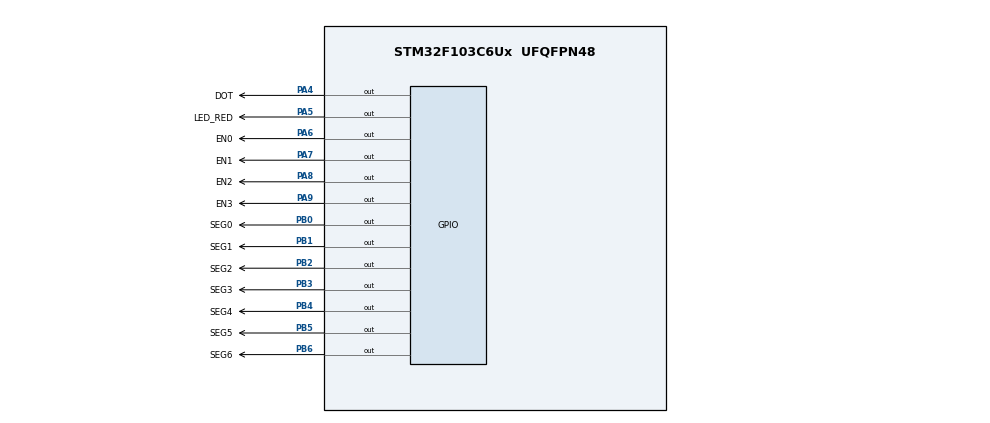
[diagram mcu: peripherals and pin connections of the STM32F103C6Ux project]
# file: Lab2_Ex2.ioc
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Mcu.Family=STM32F1
Mcu.Name=STM32F103C6Ux
Mcu.Package=UFQFPN48
NVIC.PriorityGroup=NVIC_PRIORITYGROUP_4
NVIC.TIM2_IRQn=true\:0\:0\:false\:false\:true\:true\:true
PA4.GPIO_Label=DOT
PA4.Signal=GPIO_Output
PA5.GPIO_Label=LED_RED
PA5.Signal=GPIO_Output
PA6.GPIO_Label=EN0
PA6.Signal=GPIO_Output
PA7.GPIO_Label=EN1
PA7.Signal=GPIO_Output
PA8.GPIO_Label=EN2
PA8.Signal=GPIO_Output
PA9.GPIO_Label=EN3
PA9.Signal=GPIO_Output
PB0.GPIO_Label=SEG0
PB0.Signal=GPIO_Output
PB1.GPIO_Label=SEG1
PB1.Signal=GPIO_Output
PB2.GPIO_Label=SEG2
PB2.Signal=GPIO_Output
PB3.GPIO_Label=SEG3
PB3.Signal=GPIO_Output
PB4.GPIO_Label=SEG4
PB4.Signal=GPIO_Output
PB5.GPIO_Label=SEG5
PB5.Signal=GPIO_Output
PB6.GPIO_Label=SEG6
PB6.Signal=GPIO_Output
ProjectManager.HeapSize=0x200
ProjectManager.StackSize=0x400
ProjectManager.TargetToolchain=STM32CubeIDE
RCC.APB1Freq_Value=8000000
RCC.APB2Freq_Value=8000000
TIM2.Period=9
TIM2.Prescaler=7999
VP_SYS_VS_ND.Mode=No_Debug
VP_TIM2_VS_ClockSourceINT.Mode=Internal
board=custom

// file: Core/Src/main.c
/* USER CODE BEGIN Header */
/**
  ******************************************************************************
  * @file           : main.c
  * @brief          : Main program body
  ******************************************************************************
  * @attention
  *
  * <h2><center>&copy; Copyright (c) 2022 STMicroelectronics.
  * All rights reserved.</center></h2>
  *
  * This software component is licensed by ST under BSD 3-Clause license,
  * the "License"; You may not use this file except in compliance with the
  * License. You may obtain a copy of the License at:
  *                        opensource.org/licenses/BSD-3-Clause
  *
  ******************************************************************************
  */
/* USER CODE END Header */
#include "main.h"

TIM_HandleTypeDef htim2;

void SystemClock_Config(void);
static void MX_GPIO_Init(void);
static void MX_TIM2_Init(void);

int main(void)
{

  /* MCU Configuration--------------------------------------------------------*/

  /* Reset of all peripherals, Initializes the Flash interface and the Systick. */
  HAL_Init();

  /* Configure the system clock */
  SystemClock_Config();

  /* Initialize all configured peripherals */
  MX_GPIO_Init();
  MX_TIM2_Init();
  /* USER CODE BEGIN 2 */
  HAL_TIM_Base_Start_IT(&htim2);
  /* USER CODE END 2 */

  /* Infinite loop */
  while (1)
  {

  }
}

void SystemClock_Config(void)
{
  RCC_OscInitTypeDef RCC_OscInitStruct = {0};
  RCC_ClkInitTypeDef RCC_ClkInitStruct = {0};

  /** Initializes the RCC Oscillators according to the specified parameters
  * in the RCC_OscInitTypeDef structure.
  */
  RCC_OscInitStruct.OscillatorType = RCC_OSCILLATORTYPE_HSI;
  RCC_OscInitStruct.HSIState = RCC_HSI_ON;
  RCC_OscInitStruct.HSICalibrationValue = RCC_HSICALIBRATION_DEFAULT;
  RCC_OscInitStruct.PLL.PLLState = RCC_PLL_NONE;
  if (HAL_RCC_OscConfig(&RCC_OscInitStruct) != HAL_OK)
  {
    Error_Handler();
  }
  /** Initializes the CPU, AHB and APB buses clocks
  */
  RCC_ClkInitStruct.ClockType = RCC_CLOCKTYPE_HCLK|RCC_CLOCKTYPE_SYSCLK
                              |RCC_CLOCKTYPE_PCLK1|RCC_CLOCKTYPE_PCLK2;
  RCC_ClkInitStruct.SYSCLKSource = RCC_SYSCLKSOURCE_HSI;
  RCC_ClkInitStruct.AHBCLKDivider = RCC_SYSCLK_DIV1;
  RCC_ClkInitStruct.APB1CLKDivider = RCC_HCLK_DIV1;
  RCC_ClkInitStruct.APB2CLKDivider = RCC_HCLK_DIV1;

  if (HAL_RCC_ClockConfig(&RCC_ClkInitStruct, FLASH_LATENCY_0) != HAL_OK)
  {
    Error_Handler();
  }
}

static void MX_TIM2_Init(void)
{

  TIM_ClockConfigTypeDef sClockSourceConfig = {0};
  TIM_MasterConfigTypeDef sMasterConfig = {0};

  htim2.Instance = TIM2;
  htim2.Init.Prescaler = 7999;
  htim2.Init.CounterMode = TIM_COUNTERMODE_UP;
  htim2.Init.Period = 9;
  htim2.Init.ClockDivision = TIM_CLOCKDIVISION_DIV1;
  htim2.Init.AutoReloadPreload = TIM_AUTORELOAD_PRELOAD_DISABLE;
  if (HAL_TIM_Base_Init(&htim2) != HAL_OK)
  {
    Error_Handler();
  }
  sClockSourceConfig.ClockSource = TIM_CLOCKSOURCE_INTERNAL;
  if (HAL_TIM_ConfigClockSource(&htim2, &sClockSourceConfig) != HAL_OK)
  {
    Error_Handler();
  }
  sMasterConfig.MasterOutputTrigger = TIM_TRGO_RESET;
  sMasterConfig.MasterSlaveMode = TIM_MASTERSLAVEMODE_DISABLE;
  if (HAL_TIMEx_MasterConfigSynchronization(&htim2, &sMasterConfig) != HAL_OK)
  {
    Error_Handler();
  }

}

static void MX_GPIO_Init(void)
{
  GPIO_InitTypeDef GPIO_InitStruct = {0};

  /* GPIO Ports Clock Enable */
  __HAL_RCC_GPIOA_CLK_ENABLE();
  __HAL_RCC_GPIOB_CLK_ENABLE();

  /*Configure GPIO pin Output Level */
  HAL_GPIO_WritePin(GPIOA, DOT_Pin|LED_RED_Pin|EN0_Pin|EN1_Pin
                          |EN2_Pin|EN3_Pin, GPIO_PIN_RESET);

  /*Configure GPIO pin Output Level */
  HAL_GPIO_WritePin(GPIOB, SEG0_Pin|SEG1_Pin|SEG2_Pin|SEG3_Pin
                          |SEG4_Pin|SEG5_Pin|SEG6_Pin, GPIO_PIN_RESET);

  /*Configure GPIO pins : DOT_Pin LED_RED_Pin EN0_Pin EN1_Pin
                           EN2_Pin EN3_Pin */
  GPIO_InitStruct.Pin = DOT_Pin|LED_RED_Pin|EN0_Pin|EN1_Pin
                          |EN2_Pin|EN3_Pin;
  GPIO_InitStruct.Mode = GPIO_MODE_OUTPUT_PP;
  GPIO_InitStruct.Pull = GPIO_NOPULL;
  GPIO_InitStruct.Speed = GPIO_SPEED_FREQ_LOW;
  HAL_GPIO_Init(GPIOA, &GPIO_InitStruct);

  /*Configure GPIO pins : SEG0_Pin SEG1_Pin SEG2_Pin SEG3_Pin
                           SEG4_Pin SEG5_Pin SEG6_Pin */
  GPIO_InitStruct.Pin = SEG0_Pin|SEG1_Pin|SEG2_Pin|SEG3_Pin
                          |SEG4_Pin|SEG5_Pin|SEG6_Pin;
  GPIO_InitStruct.Mode = GPIO_MODE_OUTPUT_PP;
  GPIO_InitStruct.Pull = GPIO_NOPULL;
  GPIO_InitStruct.Speed = GPIO_SPEED_FREQ_LOW;
  HAL_GPIO_Init(GPIOB, &GPIO_InitStruct);

}

/* USER CODE BEGIN 4 */
void display7SEG(int num){
	  HAL_GPIO_WritePin(SEG0_GPIO_Port, SEG0_Pin, RESET);
	  HAL_GPIO_WritePin(SEG1_GPIO_Port, SEG1_Pin, RESET);
	  HAL_GPIO_WritePin(SEG2_GPIO_Port, SEG2_Pin, RESET);
	  HAL_GPIO_WritePin(SEG3_GPIO_Port, SEG3_Pin, RESET);
	  HAL_GPIO_WritePin(SEG4_GPIO_Port, SEG4_Pin, RESET);
	  HAL_GPIO_WritePin(SEG5_GPIO_Port, SEG5_Pin, RESET);
	  HAL_GPIO_WritePin(SEG6_GPIO_Port, SEG6_Pin, RESET);
	  if (num == 0 ){
		  HAL_GPIO_WritePin(SEG6_GPIO_Port, SEG6_Pin, SET);
	  }
	  else if (num == 1){
		  HAL_GPIO_WritePin(SEG0_GPIO_Port, SEG0_Pin, SET);
		  HAL_GPIO_WritePin(SEG3_GPIO_Port, SEG3_Pin, SET);
		  HAL_GPIO_WritePin(SEG4_GPIO_Port, SEG4_Pin, SET);
		  HAL_GPIO_WritePin(SEG5_GPIO_Port, SEG5_Pin, SET);
		  HAL_GPIO_WritePin(SEG6_GPIO_Port, SEG6_Pin, SET);
	  }
	  else if (num == 2){
		  HAL_GPIO_WritePin(SEG2_GPIO_Port, SEG2_Pin, SET);
		  HAL_GPIO_WritePin(SEG5_GPIO_Port, SEG5_Pin, SET);
	  }
	  else if (num == 3){
		  HAL_GPIO_WritePin(SEG4_GPIO_Port, SEG4_Pin, SET);
		  HAL_GPIO_WritePin(SEG5_GPIO_Port, SEG5_Pin, SET);
	  }
	  else if (num == 4){
		  HAL_GPIO_WritePin(SEG0_GPIO_Port, SEG0_Pin, SET);
		  HAL_GPIO_WritePin(SEG3_GPIO_Port, SEG3_Pin, SET);
		  HAL_GPIO_WritePin(SEG4_GPIO_Port, SEG4_Pin, SET);
	  }
	  else if (num == 5){
		  HAL_GPIO_WritePin(SEG1_GPIO_Port, SEG1_Pin, SET);
		  HAL_GPIO_WritePin(SEG4_GPIO_Port, SEG4_Pin, SET);
	  }
	  else if (num == 6){
		  HAL_GPIO_WritePin(SEG1_GPIO_Port, SEG1_Pin, SET);
	  }
	  else if (num == 7){
		  HAL_GPIO_WritePin(SEG3_GPIO_Port, SEG3_Pin, SET);
		  HAL_GPIO_WritePin(SEG4_GPIO_Port, SEG4_Pin, SET);
		  HAL_GPIO_WritePin(SEG5_GPIO_Port, SEG5_Pin, SET);
		  HAL_GPIO_WritePin(SEG6_GPIO_Port, SEG6_Pin, SET);
	  }
	  else if (num == 8){

	  }
	  else if (num == 9){
		  HAL_GPIO_WritePin(SEG4_GPIO_Port, SEG4_Pin, SET);
	  }
  }

int led_red_counter = 100; //100 = 1s
int seg_counter = 50;
int status = 1;
void HAL_TIM_PeriodElapsedCallback(TIM_HandleTypeDef *htim){
	//LED RED AND DOT
	if(led_red_counter > 0 ){
		led_red_counter--;
		if(led_red_counter <= 0){
			led_red_counter = 100;
			//TODO
			HAL_GPIO_TogglePin(LED_RED_GPIO_Port, LED_RED_Pin);
			HAL_GPIO_TogglePin(DOT_GPIO_Port, DOT_Pin);
		}
	}
	//LED 7 SEGMENT
	if(seg_counter > 0 ){
		seg_counter--;
		if(seg_counter <=0){
			seg_counter = 50;
			//TODO
			HAL_GPIO_WritePin(EN0_GPIO_Port, EN0_Pin, 1);
			HAL_GPIO_WritePin(EN1_GPIO_Port, EN1_Pin, 1);
			HAL_GPIO_WritePin(EN2_GPIO_Port, EN2_Pin, 1);
			HAL_GPIO_WritePin(EN3_GPIO_Port, EN3_Pin, 1);
			switch(status){
			case 1:
				HAL_GPIO_WritePin(EN0_GPIO_Port, EN0_Pin, 0);
				display7SEG(1);
				status = 2;
				break;
			case 2:
				HAL_GPIO_WritePin(EN1_GPIO_Port, EN1_Pin, 0);
				display7SEG(2);
				status = 3;
				break;
			case 3:
				HAL_GPIO_WritePin(EN2_GPIO_Port, EN2_Pin, 0);
				display7SEG(3);
				status = 4;
				break;
			case 4:
				HAL_GPIO_WritePin(EN3_GPIO_Port, EN3_Pin, 0);
				display7SEG(0);
				status = 1;
				break;
			default:
				break;
			}
		}
	}
}
/* USER CODE END 4 */

void Error_Handler(void)
{
  __disable_irq();
  while (1)
  {
  }
}

/************************ (C) COPYRIGHT STMicroelectronics *****END OF FILE****/
